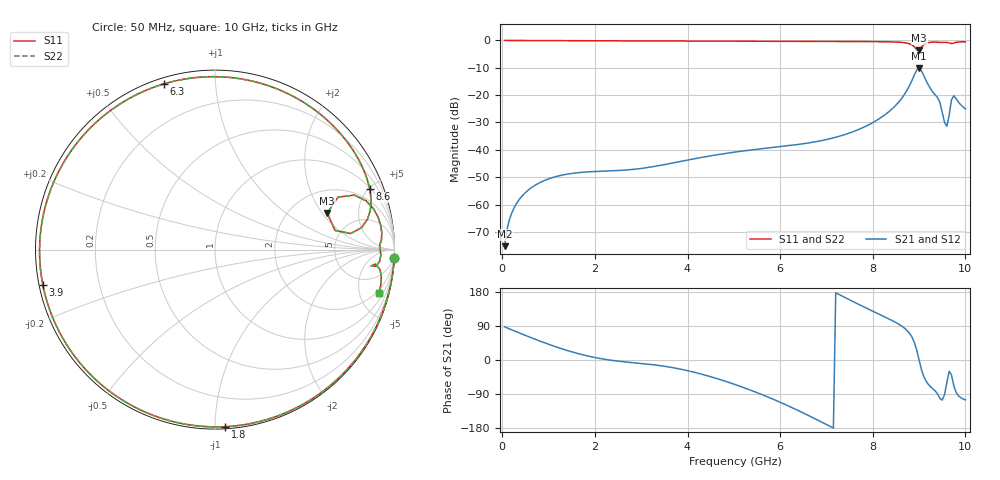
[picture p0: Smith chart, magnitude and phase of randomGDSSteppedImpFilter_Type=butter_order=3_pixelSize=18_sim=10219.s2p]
! freq	dB(S11)	phase(S11)	dB(S12)	phase(S12)
!  dB(S21)	phase(S21)	dB(S22)	phase(S22)
!S-par simulation data
#  GHz  S  DB  R 50
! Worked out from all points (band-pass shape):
!   200 points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, 50 MHz to 10 GHz, reference 50 ohm
!   highest |S21| = -10.21 dB at 9 GHz (marker M1); lowest = -75.2 dB at 50 MHz (marker M2)
!   |S21| within 3 dB of the highest: 8.883 GHz to 9.111 GHz (228.1 MHz wide, 2.53 % of centre)
!   lowest |S11| = -3.7 dB at 9 GHz (marker M3), VSWR 4.83, Z = 156 + j112 ohm
!   |S11| at or under -10 dB: nowhere
!   |S22| runs from -3.6 to 0.0 dB; largest |S21 - S12| = 0
!   S11 on the Smith chart (normalised r, x): 50 MHz: 0, -45; 1.8 GHz: 0.01, -1.06; 3.9 GHz: 0.01, -0.10; 6.3 GHz: 0.03, +0.74; 8.6 GHz: 1.08, +5.08; 10 GHz: 1.58, -7.35
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0.05  -0.00 -2.6  -75.24 87.6  -75.24 87.6  -0.00 -2.6
0.2  -0.02 -10.2  -63.27 79.7  -63.27 79.7  -0.02 -10.2
0.5  -0.04 -25.3  -55.63 64.8  -55.63 64.8  -0.04 -25.3
1.15  -0.07 -57.1  -49.82 35.1  -49.82 35.1  -0.07 -57.1
1.75  -0.10 -84.4  -48.18 13.3  -48.18 13.3  -0.10 -84.5
1.8  -0.10 -86.6  -48.12 11.9  -48.12 11.9  -0.10 -86.7
2.5  -0.13 -115.9  -47.57 -3.0  -47.57 -3.0  -0.13 -115.9
3.4  -0.16 -150.3  -45.72 -14.7  -45.72 -14.7  -0.16 -150.3
3.9  -0.18 -168.3  -44.08 -25.4  -44.08 -25.4  -0.18 -168.4
5.05  -0.24 151.3  -40.76 -65.7  -40.76 -65.7  -0.24 151.3
6.3  -0.30 107.2  -38.23 -128.1  -38.23 -128.1  -0.30 107.1
6.7  -0.32 92.8  -37.24 -151.7  -37.24 -151.7  -0.32 92.7
7.5  -0.37 63.6  -33.83 158.7  -33.83 158.7  -0.37 63.6
8.35  -0.50 31.8  -26.02 108.3  -26.02 108.3  -0.50 31.7
8.6  -0.67 21.4  -21.70 91.5  -21.70 91.5  -0.67 21.4
8.9  -2.37 6.7  -12.54 45.9  -12.54 45.9  -2.36 6.8
9  -3.65 18.0  -10.21 0.0  -10.21 0.0  -3.63 18.0
9.1  -1.58 21.4  -12.81 -43.1  -12.81 -43.1  -1.58 21.3
9.45  -0.75 1.6  -22.67 -101.3  -22.67 -101.3  -0.73 1.5
9.6  -0.72 -3.9  -31.42 -59.1  -31.42 -59.1  -0.72 -4.0
9.75  -0.94 -5.1  -20.21 -67.9  -20.21 -67.9  -0.95 -5.1
10  -0.48 -14.8  -25.03 -105.1  -25.03 -105.1  -0.48 -14.9
